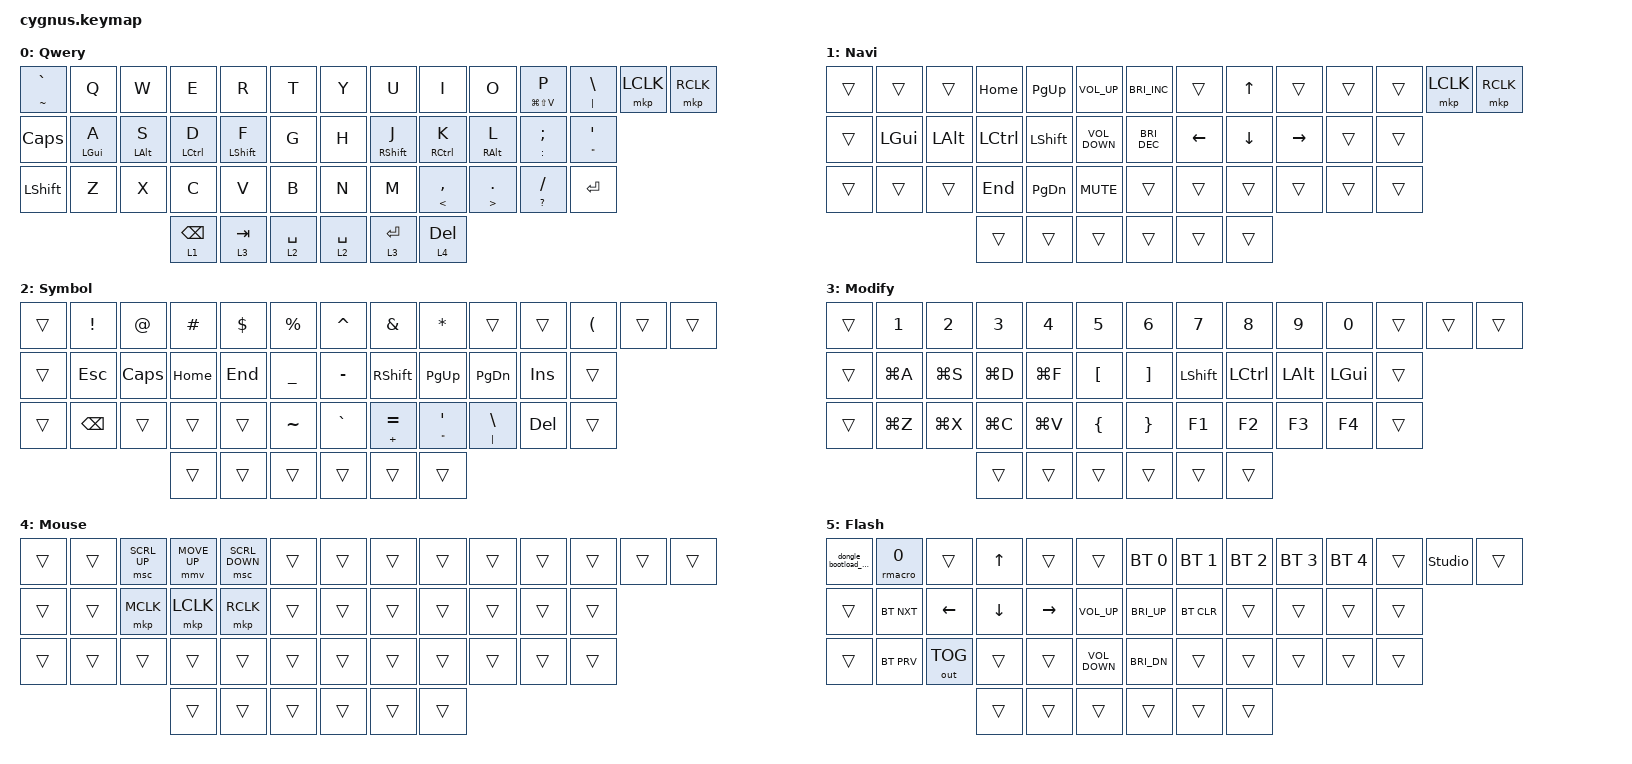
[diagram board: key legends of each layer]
/*
 * Copyright (c) 2020 The ZMK Contributors
 *
 * SPDX-License-Identifier: MIT
 */

#define ZMK_POINTING_DEFAULT_MOVE_VAL 1200  // 600
#define ZMK_POINTING_DEFAULT_SCRL_VAL 35    // 10

#include <input/processors.dtsi>
#include <zephyr/dt-bindings/input/input-event-codes.h>
#include <behaviors.dtsi>
#include <behaviors/runtime_macro.dtsi>
#include <dt-bindings/zmk/bt.h>
#include <dt-bindings/zmk/keys.h>
#include <dt-bindings/zmk/outputs.h>
#include <dt-bindings/zmk/pointing.h>
#include <dt-bindings/zmk/pointing.h>
#include <dt-bindings/zmk/pointing.h>

#define SCROLLER 1
#define MOUSE 4

/ {
    zip_scroll_scaler: zip_scroll_scaler {
        compatible = "zmk,input-processor-scaler";
        #input-processor-cells = <2>;
        type = <INPUT_EV_REL>;
        codes = <INPUT_REL_WHEEL INPUT_REL_HWHEEL>;
        track-remainders;
    };
};

&mmv_input_listener { input-processors = <&zip_xy_scaler 2 1>; };

&msc_input_listener { input-processors = <&zip_scroll_scaler 2 1>; };

&msc {
    acceleration-exponent = <0>;      // 0
    time-to-max-speed-ms = <0>;       // 300
    delay-ms = <0>;                   // 0
};

&mmv {
    time-to-max-speed-ms = <400>;
    acceleration-exponent = <1>;
};

&mt {
    tapping-term-ms = <200>;
    flavor = "tap-preferred";
};

&sk {
    release-after-ms = <2000>;
    quick-release;
};

/ {
    macros {
        dongle_bootload_macro: bootload_macro {
            compatible = "zmk,behavior-macro";
            #binding-cells = <0>;
            bindings = <&bootloader>;
            label = "BOOTLOAD_MACRO";
        };
    };

    runtime_combo_defaults {
        compatible = "cormoran,runtime-combo-defaults";

        left_bkt {
            slot = <0>;
            bindings = <&kp LBKT>;
            key-positions = <3 4>;
            timeout-ms = <50>;
            display-name = "Left Bracket";
        };

        right_bkt {
            slot = <1>;
            bindings = <&kp RBKT>;
            key-positions = <7 8>;
            timeout-ms = <50>;
            display-name = "Right Bracket";
        };

        left_par {
            slot = <2>;
            bindings = <&kp LEFT_PARENTHESIS>;
            key-positions = <17 18>;
            timeout-ms = <50>;
            display-name = "Left Paren";
        };

        right_par {
            slot = <3>;
            bindings = <&kp RIGHT_PARENTHESIS>;
            key-positions = <21 22>;
            timeout-ms = <50>;
            display-name = "Right Paren";
        };

        left_brace {
            slot = <4>;
            bindings = <&kp LEFT_BRACE>;
            key-positions = <29 30>;
            timeout-ms = <50>;
            display-name = "Left Brace";
        };

        right_brace {
            slot = <5>;
            bindings = <&kp RIGHT_BRACE>;
            key-positions = <33 34>;
            timeout-ms = <50>;
            display-name = "Right Brace";
        };

        bac {
            slot = <6>;
            bindings = <&kp BACKSLASH>;
            key-positions = <5 6>;
            timeout-ms = <50>;
            display-name = "Backslash";
        };

        pipe {
            slot = <7>;
            bindings = <&kp PIPE>;
            key-positions = <19 20>;
            timeout-ms = <50>;
            display-name = "Pipe";
        };

        esc {
            slot = <8>;
            bindings = <&kp ESC>;
            key-positions = <0 1>;
            timeout-ms = <50>;
            display-name = "Esc";
        };

        plus {
            slot = <9>;
            bindings = <&kp PLUS>;
            key-positions = <19 18>;
            timeout-ms = <50>;
            display-name = "Plus";
        };

        equal {
            slot = <10>;
            bindings = <&kp EQUAL>;
            key-positions = <21 20>;
            timeout-ms = <50>;
            display-name = "Equal";
        };
    };

    behaviors {
        hml: homerow_mods_left {
            compatible = "zmk,behavior-hold-tap";
            label = "HOMEROW_MODS_LEFT";
            #binding-cells = <2>;
            tapping-term-ms = <200>;
            flavor = "balanced";
            bindings = <&kp>, <&kp>;

            quick-tap-ms = <180>;
            require-prior-idle-ms = <125>;
            hold-trigger-on-release;
            hold-trigger-key-positions = <21 22 23>;
        };

        ltq: ltq {
            compatible = "zmk,behavior-hold-tap";
            label = "LTQ";
            #binding-cells = <2>;
            tapping-term-ms = <200>;
            flavor = "hold-preferred";
            bindings = <&mo>, <&kp>;

            quick-tap-ms = <180>;
        };

        as: as {
            compatible = "zmk,behavior-hold-tap";
            label = "AUTO_SHIFT";
            bindings = <&kp>, <&kp>;

            #binding-cells = <2>;
            tapping-term-ms = <135>;
            quick-tap-ms = <0>;
            flavor = "tap-preferred";
        };

        hmr: hmr {
            compatible = "zmk,behavior-hold-tap";
            label = "HMR";
            bindings = <&kp>, <&kp>;

            #binding-cells = <2>;
            tapping-term-ms = <250>;
            quick-tap-ms = <150>;
            require-prior-idle-ms = <125>;
            flavor = "balanced";
            hold-trigger-key-positions = <15 16 17 18>;
            hold-trigger-on-release;
        };
    };

    keymap {
        compatible = "zmk,keymap";

        Qwery {
            bindings = <
&as TILDE GRAVE  &kp Q            &kp W            &kp E             &kp R              &kp T        &kp Y         &kp U               &kp I                &kp O                    &hml LG(LS(V)) P     &as PIPE BACKSLASH              &mkp LCLK  &mkp RCLK
&kp CAPSLOCK     &hml LEFT_GUI A  &hml LEFT_ALT S  &hml LCTRL D      &hml LEFT_SHIFT F  &kp G        &kp H         &hmr RIGHT_SHIFT J  &hmr RCTRL K         &hmr RIGHT_ALT L         &as COLON SEMICOLON  &as DOUBLE_QUOTES SINGLE_QUOTE
&kp LEFT_SHIFT   &kp Z            &kp X            &kp C             &kp V              &kp B        &kp N         &kp M               &as LESS_THAN COMMA  &as GREATER_THAN PERIOD  &as QUESTION SLASH   &kp ENTER
                                                   &ltq 1 BACKSPACE  &lt 3 TAB          &lt 2 SPACE  &ltq 2 SPACE  &ltq 3 ENTER        &ltq 4 DEL
            >;

            label = "Qwery";
        };

        Navi {
            bindings = <
&trans  &trans        &trans        &kp HOME          &kp PAGE_UP     &kp C_VOLUME_UP    &kp C_BRIGHTNESS_INC  &trans    &kp UP_ARROW    &trans           &trans  &trans  &mkp LCLK  &mkp RCLK
&trans  &kp LEFT_GUI  &kp LEFT_ALT  &kp LEFT_CONTROL  &kp LEFT_SHIFT  &kp C_VOLUME_DOWN  &kp C_BRIGHTNESS_DEC  &kp LEFT  &kp DOWN_ARROW  &kp RIGHT_ARROW  &trans  &trans
&trans  &trans        &trans        &kp END           &kp PAGE_DOWN   &kp K_MUTE         &trans                &trans    &trans          &trans           &trans  &trans
                                    &trans            &trans          &trans             &trans                &trans    &trans
            >;

            label = "Navi";
        };

        Symbol {
            bindings = <
&trans  &kp EXCLAMATION  &kp AT_SIGN   &kp HASH  &kp DOLLAR  &kp PERCENT  &kp CARET  &kp AMPERSAND    &kp STAR                        &trans              &trans      &kp LEFT_PARENTHESIS  &trans  &trans
&trans  &kp ESCAPE       &kp CAPSLOCK  &kp HOME  &kp END     &kp UNDER    &kp MINUS  &kp RIGHT_SHIFT  &kp PAGE_UP                     &kp PAGE_DOWN       &kp INSERT  &trans
&trans  &kp BACKSPACE    &trans        &trans    &trans      &kp TILDE    &kp GRAVE  &as PLUS EQUAL   &as DOUBLE_QUOTES SINGLE_QUOTE  &as PIPE BACKSLASH  &kp DEL     &trans
                                       &trans    &trans      &trans       &trans     &trans           &trans
            >;

            label = "Symbol";
        };

        Modify {
            bindings = <
&trans  &kp NUMBER_1  &kp NUMBER_2  &kp NUMBER_3  &kp NUMBER_4  &kp NUMBER_5      &kp NUMBER_6       &kp NUMBER_7    &kp NUMBER_8      &kp NUMBER_9  &kp NUMBER_0  &trans  &trans  &trans
&trans  &kp LG(A)     &kp LG(S)     &kp LG(D)     &kp LG(F)     &kp LEFT_BRACKET  &kp RIGHT_BRACKET  &kp LEFT_SHIFT  &kp LEFT_CONTROL  &kp LEFT_ALT  &kp LEFT_GUI  &trans
&trans  &kp LG(Z)     &kp LG(X)     &kp LG(C)     &kp LG(V)     &kp LEFT_BRACE    &kp RIGHT_BRACE    &kp F1          &kp F2            &kp F3        &kp F4        &trans
                                    &trans        &trans        &trans            &trans             &trans          &trans
            >;

            label = "Modify";
        };

        Mouse {
            bindings = <
&trans  &trans  &msc SCRL_UP  &mmv MOVE_UP  &msc SCRL_DOWN  &trans  &trans  &trans  &trans  &trans  &trans  &trans  &trans  &trans
&trans  &trans  &mkp MCLK     &mkp LCLK     &mkp RCLK       &trans  &trans  &trans  &trans  &trans  &trans  &trans
&trans  &trans  &trans        &trans        &trans          &trans  &trans  &trans  &trans  &trans  &trans  &trans
                              &trans        &trans          &trans  &trans  &trans  &trans
            >;

            label = "Mouse";
        };

        Flash {
            bindings = <
&dongle_bootload_macro  &rmacro 0   &trans        &kp UP    &trans     &trans             &bt BT_SEL 0  &bt BT_SEL 1  &bt BT_SEL 2  &bt BT_SEL 3  &bt BT_SEL 4  &trans  &studio_unlock  &trans
&trans                  &bt BT_NXT  &kp LEFT      &kp DOWN  &kp RIGHT  &kp C_VOLUME_UP    &kp C_BRI_UP  &bt BT_CLR    &trans        &trans        &trans        &trans
&trans                  &bt BT_PRV  &out OUT_TOG  &trans    &trans     &kp C_VOLUME_DOWN  &kp C_BRI_DN  &trans        &trans        &trans        &trans        &trans
                                                  &trans    &trans     &trans             &trans        &trans        &trans
            >;

            label = "Flash";
        };
    };

    conditional_layers {
        compatible = "zmk,conditional-layers";

        Flash {
            if-layers = <2 3>;
            then-layer = <5>;
        };
    };
};
